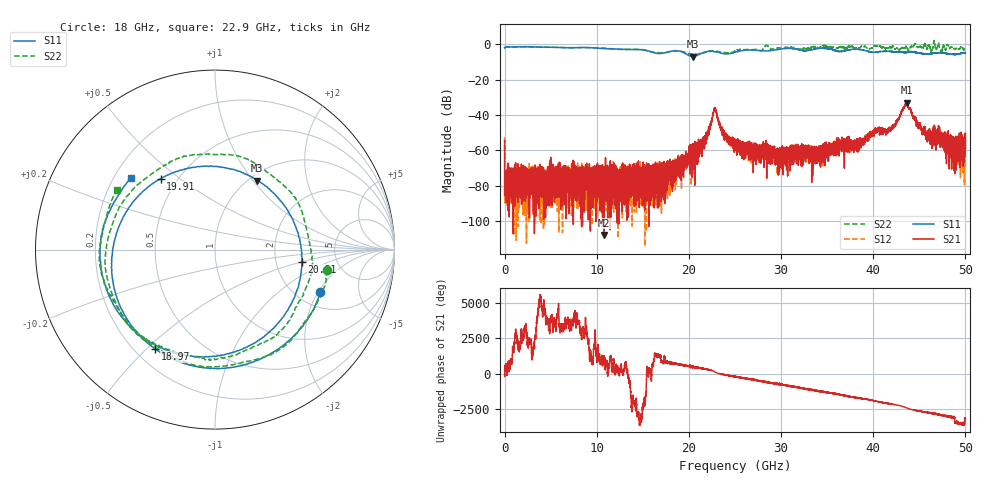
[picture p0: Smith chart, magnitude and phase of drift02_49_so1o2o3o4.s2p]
!Created with skrf (http://scikit-rf.org).
# Hz S RI R 50.0
!freq ReS11 ImS11 ReS21 ImS21 ReS12 ImS12 ReS22 ImS22
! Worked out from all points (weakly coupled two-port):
!   10001 points, 300 kHz to 50 GHz, reference 50 ohm
!   highest |S21| = -32.96 dB at 43.63 GHz (marker M1); lowest = -107.7 dB at 10.76 GHz (marker M2)
!   lowest |S11| = -6.9 dB at 20.41 GHz (marker M3), VSWR 2.64, Z = 54.3 + j52.4 ohm
!   |S11| at or under -10 dB: nowhere
!   |S22| runs from -5.7 to 2.2 dB; largest |S21 - S12| = 0.004
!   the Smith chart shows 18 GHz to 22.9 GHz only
!   S11 on the Smith chart (normalised r, x): 18 GHz: 2.64, -2.10; 18.97 GHz: 0.28, -0.53; 19.91 GHz: 0.41, +0.43; 20.91 GHz: 2.82, -0.49; 22.9 GHz: 0.27, +0.34
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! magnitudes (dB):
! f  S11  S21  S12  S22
! 300 kHz  -2.0  -54.4  -52.5  -2.1
! 305.3 MHz  -1.4  -76.8  -77.6  -1.4
! 8.335 GHz  -1.7  -69.3  -77.4  -1.9
! 10.76 GHz  -2.4  -107.7  -80.9  -2.1
! 16.67 GHz  -5.2  -72.6  -66.0  -4.7
! 18 GHz  -4.0  -70.8  -68.4  -4.0
! 18.97 GHz  -3.8  -66.8  -67.4  -3.9
! 19.91 GHz  -6.1  -62.9  -63.8  -5.2
! 20.41 GHz  -6.9  -58.7  -60.3  -5.4
! 20.91 GHz  -6.2  -57.7  -60.9  -5.6
! 22.9 GHz  -4.2  -36.8  -36.8  -3.9
! 23.75 GHz  -5.3  -51.4  -49.5  -4.6
! 25 GHz  -4.5  -58.5  -57.5  -3.9
! 29.71 GHz  -2.9  -68.4  -67.4  -2.1
! 33.34 GHz  -3.0  -64.9  -58.4  -1.5
! 38.29 GHz  -2.8  -58.0  -56.3  -2.2
! 40.41 GHz  -4.3  -49.7  -48.2  -1.0
! 41.67 GHz  -3.9  -47.8  -47.7  -2.0
! 43.63 GHz  -4.5  -33.0  -33.5  -1.7
! 45.78 GHz  -5.4  -51.9  -51.5  -2.0
! 49.45 GHz  -5.2  -51.5  -66.4  -2.0
! 50 GHz  -4.7  -58.7  -54.4  -2.7
